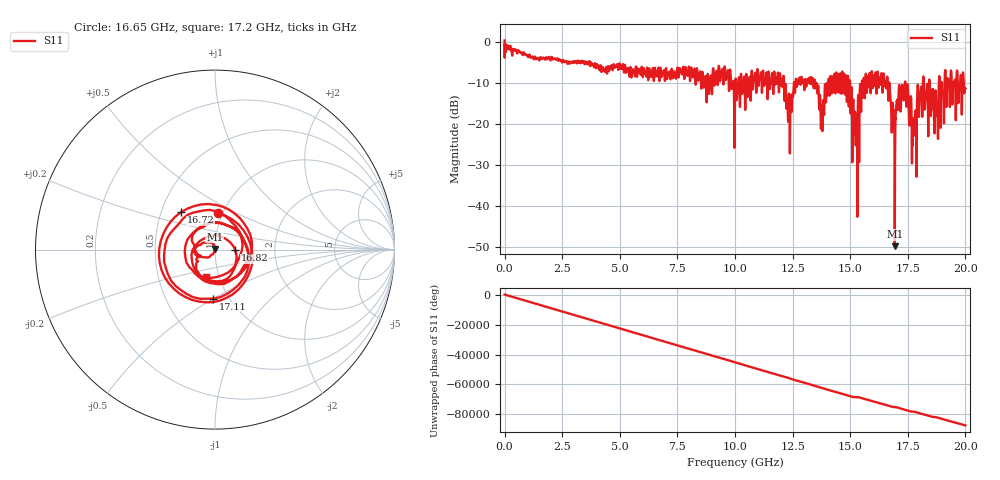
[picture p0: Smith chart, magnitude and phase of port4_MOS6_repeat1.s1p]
! MS46122B
! 2250307/22442219
! 7/27/2025 9:26:52 AM
! C:\USERS\SPARKY\DOCUMENTS\VNA_DATA\JULY27_2025\3K\PORT4_MOS6_REPEAT1.S1P
! CHANNEL.1
! TR.MEASUREMENT
! RAW.DATA
# GHZ S RI R 50.0
! FREQ.GHZ  S11RE  S11IM
!; PortSelection: Port_1
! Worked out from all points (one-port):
!   10001 points, 1 MHz to 20 GHz, reference 50 ohm
!   lowest |S11| = -49.9 dB at 16.94 GHz (marker M1), VSWR 1.01, Z = 49.9 + j0.298 ohm
!   |S11| at or under -10 dB: 14.99 GHz to 15.5 GHz (513 MHz wide, 3.36 % of centre); 16.7 GHz to 17.37 GHz (670.4 MHz wide, 3.93 % of centre); 17.4 GHz to 18.16 GHz (757.9 MHz wide, 4.26 % of centre) (the widest 3 of 87)
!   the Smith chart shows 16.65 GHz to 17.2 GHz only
!   S11 on the Smith chart (normalised r, x): 16.65 GHz: 0.95, +0.40; 16.72 GHz: 0.63, +0.29; 16.82 GHz: 1.26, -0.01; 17.11 GHz: 0.85, -0.50; 17.2 GHz: 0.86, -0.27
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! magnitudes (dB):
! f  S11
! 1 MHz  0.4
! 2.501 GHz  -4.9
! 5.001 GHz  -5.6
! 7.501 GHz  -6.2
! 9.619 GHz  -8.8
! 10 GHz  -13.2
! 11.05 GHz  -8.8
! 12.03 GHz  -9.1
! 12.31 GHz  -18.0
! 12.5 GHz  -12.9
! 13.29 GHz  -8.5
! 13.79 GHz  -20.1
! 14.65 GHz  -7.2
! 15 GHz  -12.0
! 15.24 GHz  -24.3
! 15.6 GHz  -8.8
! 16.65 GHz  -13.8
! 16.72 GHz  -11.0
! 16.82 GHz  -18.9
! 16.94 GHz  -49.9
! 17.11 GHz  -11.3
! 17.2 GHz  -15.8
! 17.5 GHz  -10.9
! 17.78 GHz  -19.2
! 18.11 GHz  -14.7
! 18.73 GHz  -14.5
! 19.19 GHz  -11.6
! 20 GHz  -11.3
